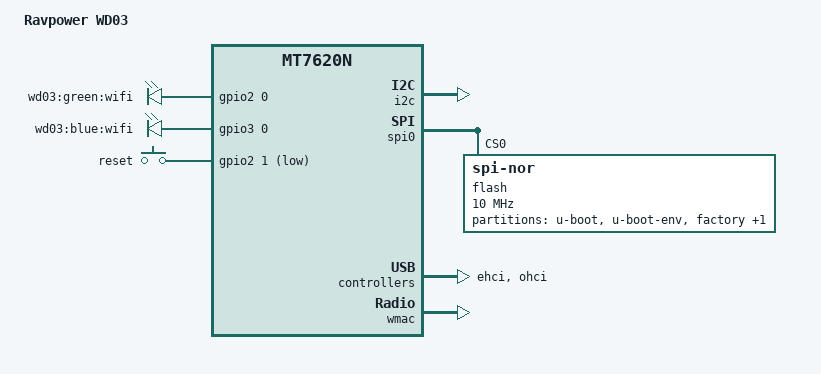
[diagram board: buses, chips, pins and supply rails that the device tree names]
/dts-v1/;

#include "mt7620n.dtsi"

#include <dt-bindings/gpio/gpio.h>
#include <dt-bindings/input/input.h>

/ {
	compatible = "ravpower,wd03", "ralink,mt7620n-soc";
	model = "Ravpower WD03";

	chosen {
		bootargs = "console=ttyS0,115200";
	};

	leds {
		compatible = "gpio-leds";

		green-wifi {
			label = "wd03:green:wifi";
			gpios = <&gpio2 0 GPIO_ACTIVE_HIGH>;
		};

		blue-wifi {
			label = "wd03:blue:wifi";
			gpios = <&gpio3 0 GPIO_ACTIVE_HIGH>;
		};
	};

	keys {
		compatible = "gpio-keys";

		reset {
			label = "reset";
			gpios = <&gpio2 1 GPIO_ACTIVE_LOW>;
			linux,code = <KEY_RESTART>;
		};
	};
};

&gpio2 {
	status = "okay";
};

&gpio3 {
	status = "okay";
};

&i2c {
	status = "okay";
};

&spi0 {
	status = "okay";

	flash@0 {
		compatible = "jedec,spi-nor";
		reg = <0>;
		spi-max-frequency = <10000000>;

		partitions {
			compatible = "fixed-partitions";
			#address-cells = <1>;
			#size-cells = <1>;

			partition@0 {
				label = "u-boot";
				reg = <0x0 0x30000>;
				read-only;
			};

			partition@30000 {
				label = "u-boot-env";
				reg = <0x30000 0x10000>;
				read-only;
			};

			factory: partition@40000 {
				label = "factory";
				reg = <0x40000 0x10000>;
				read-only;
			};

			partition@50000 {
				compatible = "denx,uimage";
				label = "firmware";
				reg = <0x50000 0x7b0000>;
			};
		};
	};
};

&ehci {
	status = "okay";
};

&ohci {
	status = "okay";
};

&ethernet {
	mtd-mac-address = <&factory 0x4000>;
};

&wmac {
	ralink,mtd-eeprom = <&factory 0x0>;
};

&state_default {
	gpio {
		groups = "wled", "ephy";
		function = "gpio";
	};
};
